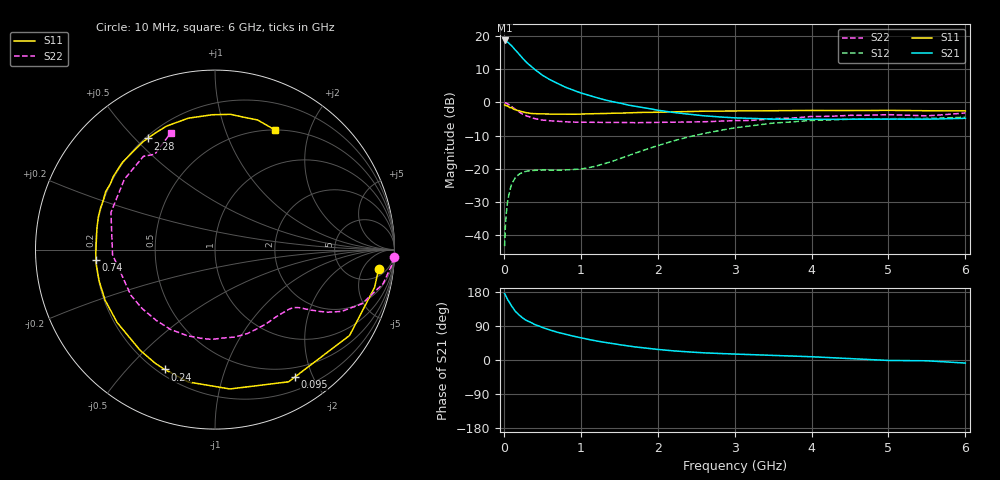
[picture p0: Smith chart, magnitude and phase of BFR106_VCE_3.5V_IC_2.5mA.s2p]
! Infineon Technologies  Discrete & RF Semiconductors
! BFR106
! VCE =  3.5 V,  IC =  2.5 mA
! Common Emitter S-Parameters:  Nov 2015
# GHz  S  MA  R  50
!  f  S11  S21  S12  S22
! GHz  MAG  ANG  MAG  ANG  MAG  ANG  MAG  ANG
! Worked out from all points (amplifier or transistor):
!   210 points, 10 MHz to 6 GHz, reference 50 ohm
!   highest |S21| = 18.8 dB at 10 MHz (marker M1)
!   |S21| within 3 dB of that: start of sweep to 154.5 MHz
!   unconditionally stable (mu >= 1): 746.8 MHz to 2.004 GHz; 3.845 GHz to end of sweep
!   at 185 MHz: K = 0.27, MSG = 18.5 dB, |S12| = -22.0 dB
!   at 1.52 GHz: K = 1.18, MAG = 5.8 dB, |S12| = -16.9 dB
!   at 6 GHz: K = 1.02, MAG = -1.1 dB, |S12| = -4.5 dB
!   S11 on the Smith chart (normalised r, x): 10 MHz: 8, -11; 95 MHz: 0.37, -1.75; 240 MHz: 0.23, -0.64; 740 MHz: 0.20, -0.04; 2.28 GHz: 0.21, +0.54; 6 GHz: 0.50, +1.50
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0.01  0.9181 -6.7  8.681 175.1  0.0067 88.5  0.996 -2.4
0.02  0.9137 -13.3  8.646 171.7  0.0134 83.4  0.9902 -4.8
0.05  0.8895 -32.5  8.231 159.0  0.0325 72.3  0.9562 -11.4
0.095  0.838 -58.0  7.343 144.4  0.0551 59.4  0.8806 -19.2
0.1  0.843 -60.9  7.278 142.6  0.0577 58.6  0.8733 -20.2
0.15  0.7809 -83.9  6.23 128.1  0.073 47.9  0.7854 -26.0
0.2  0.7525 -101.4  5.359 118.4  0.0826 41.3  0.7165 -29.1
0.24  0.7246 -112.8  4.73 111.7  0.087 36.9  0.6709 -30.8
0.3  0.6989 -126.7  3.99 103.7  0.0916 33.0  0.6239 -32.5
0.4  0.68 -143.3  3.17 93.8  0.0943 29.3  0.5712 -34.5
0.5  0.6741 -155.3  2.59 85.7  0.0953 28.3  0.5426 -36.5
0.6  0.6687 -164.7  2.211 79.0  0.0949 29.0  0.5286 -39.1
0.74  0.6649 -175.0  1.841 71.1  0.0949 32.2  0.5157 -43.3
1.02  0.6693 168.8  1.373 57.7  0.0995 43.8  0.5027 -53.0
1.4  0.6892 152.2  1.035 43.7  0.1277 59.6  0.5013 -68.7
2.02  0.7122 129.6  0.758 27.6  0.2261 65.4  0.5 -98.5
2.28  0.7242 121.2  0.691 23.1  0.2771 62.7  0.5036 -112.3
3.1  0.7461 99.4  0.581 15.0  0.4268 46.2  0.532 -156.9
3.5  0.7515 91.2  0.56 12.1  0.488 37.4  0.5717 -177.2
4.1  0.7571 82.2  0.557 7.6  0.5381 24.2  0.6153 156.6
5.1  0.7578 70.9  0.561 -1.4  0.5699 7.3  0.6493 126.5
6  0.7453 63.4  0.576 -8.1  0.5988 -3.7  0.6942 110.9
